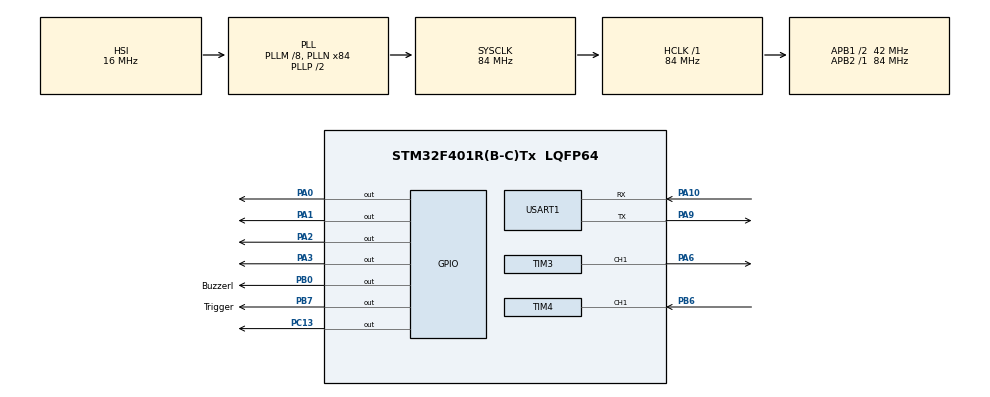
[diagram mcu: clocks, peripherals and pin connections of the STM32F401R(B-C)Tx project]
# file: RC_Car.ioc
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Mcu.Family=STM32F4
Mcu.Name=STM32F401R(B-C)Tx
Mcu.Package=LQFP64
NVIC.PriorityGroup=NVIC_PRIORITYGROUP_4
NVIC.TIM4_IRQn=true\:1\:0\:true\:false\:true\:true\:true\:true
PA0-WKUP.Signal=GPIO_Output
PA1.Signal=GPIO_Output
PA10.Mode=Asynchronous
PA10.Signal=USART1_RX
PA2.Signal=GPIO_Output
PA3.Signal=GPIO_Output
PA6.Signal=S_TIM3_CH1
PA9.Mode=Asynchronous
PA9.Signal=USART1_TX
PB0.GPIO_Label=Buzzerl
PB0.Signal=GPIO_Output
PB6.Signal=S_TIM4_CH1
PB7.GPIO_Label=Trigger
PB7.Signal=GPIO_Output
PC13-ANTI_TAMP.Signal=GPIO_Output
ProjectManager.HeapSize=0x200
ProjectManager.StackSize=0x400
ProjectManager.TargetToolchain=STM32CubeIDE
RCC.48MHZClocksFreq_Value=42000000
RCC.AHBFreq_Value=84000000
RCC.APB1CLKDivider=RCC_HCLK_DIV2
RCC.APB1Freq_Value=42000000
RCC.APB1TimFreq_Value=84000000
RCC.APB2Freq_Value=84000000
RCC.APB2TimFreq_Value=84000000
RCC.CortexFreq_Value=84000000
RCC.HCLKFreq_Value=84000000
RCC.HSE_VALUE=25000000
RCC.HSI_VALUE=16000000
RCC.LSE_VALUE=32768
RCC.PLLM=8
RCC.PLLN=84
RCC.SYSCLKFreq_VALUE=84000000
RCC.SYSCLKSource=RCC_SYSCLKSOURCE_PLLCLK
RCC.VCOOutputFreq_Value=168000000
SH.S_TIM3_CH1.0=TIM3_CH1,PWM Generation1 CH1
SH.S_TIM4_CH1.0=TIM4_CH1,Input_Capture1_from_TI1
TIM3.Channel-PWM\ Generation1\ CH1=TIM_CHANNEL_1
TIM4.Channel-Input_Capture1_from_TI1=TIM_CHANNEL_1
TIM4.Prescaler=83
USART1.VirtualMode=VM_ASYNC
board=custom

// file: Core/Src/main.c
/*****************************************************************************************************************************
**********************************    Author  : Ehab Magdy Abdullah                      *************************************
**********************************    Linkedin: https://www.linkedin.com/in/ehabmagdyy/  *************************************
**********************************    Youtube : https://www.youtube.com/@EhabMagdyy      *************************************
******************************************************************************************************************************/

#include "main.h"
#include "tim.h"
#include "usart.h"
#include "gpio.h"

/* USER CODE BEGIN Includes */
#include "dcmotor_lcfg.h"
#include "ultrasonic_lcfg.h"
#include "buzzer_lcfg.h"
/* USER CODE END Includes */

/* USER CODE BEGIN PV */
volatile uint8_t ultrasonic_reading_finished_flag = 0;
static volatile uint8_t is_firt_captured = 0;
static volatile uint32_t IC_Val1 = 0;
static volatile uint32_t IC_Val2 = 0;
static volatile uint32_t IC_Difference = 0;
uint16_t distance = 0;
/* USER CODE END PV */

void SystemClock_Config(void);
/* USER CODE BEGIN PFP */
void adjust_PWM_dutyCycle(TIM_HandleTypeDef* pwmHandle, uint32_t pwmChannel, float dutyCycle)
{

    // Calculate the new pulse width based on the duty cycle percentage
    uint32_t maxCCR = pwmHandle->Instance->ARR;
    uint32_t newCCR = (uint32_t)((dutyCycle / 100.0f) * maxCCR);

    // Update the CCR value for the specified channel
    __HAL_TIM_SET_COMPARE(pwmHandle, pwmChannel, newCCR);
}

void HAL_TIM_IC_CaptureCallback(TIM_HandleTypeDef *htim)
{
	/* Capture rising edge */
	if(0 == is_firt_captured)
	{
		IC_Val1 = HAL_TIM_ReadCapturedValue(htim, TIM_CHANNEL_1);
		is_firt_captured = 1;
		__HAL_TIM_SET_CAPTUREPOLARITY(htim, TIM_CHANNEL_1, TIM_INPUTCHANNELPOLARITY_FALLING);
		ultrasonic_reading_finished_flag = 0;
	}
	/* Capture falling edge */
	else if(1 == is_firt_captured)
	{
		IC_Val2 = HAL_TIM_ReadCapturedValue(htim, TIM_CHANNEL_1);
		__HAL_TIM_SET_COUNTER(htim, 0);

		if(IC_Val2 > IC_Val1)
		{
			IC_Difference = IC_Val2 - IC_Val1;
		}
		else if(IC_Val1 > IC_Val2)
		{
			IC_Difference = (0xFFFF - IC_Val1) + IC_Val2;
		}

		distance = IC_Difference * 0.017;

		is_firt_captured = 0;
		__HAL_TIM_SET_CAPTUREPOLARITY(htim, TIM_CHANNEL_1, TIM_INPUTCHANNELPOLARITY_RISING);
		__HAL_TIM_DISABLE_IT(&htim4, TIM_IT_CC1);
		ultrasonic_reading_finished_flag = 1;
	}
	else{ /* Nothing */ }
}

/* USER CODE END PFP */

int main(void)
{
  /* USER CODE BEGIN 1 */
	uint8_t bt_value = 0;
	uint8_t last_bt_value = 0;
  /* USER CODE END 1 */

  /* MCU Configuration--------------------------------------------------------*/

  /* Reset of all peripherals, Initializes the Flash interface and the Systick. */
  HAL_Init();

  /* Configure the system clock */
  SystemClock_Config();

  /* Initialize all configured peripherals */
  MX_GPIO_Init();
  MX_USART1_UART_Init();
  MX_TIM3_Init();
  MX_TIM4_Init();
  /* USER CODE BEGIN 2 */
  HAL_TIM_PWM_Start(&htim3, TIM_CHANNEL_1);
  adjust_PWM_dutyCycle(&htim3, TIM_CHANNEL_1, 50);
  HAL_TIM_IC_Start_IT(&htim4, TIM_CHANNEL_1);
  /* USER CODE END 2 */

  /* Infinite loop */
  /* USER CODE BEGIN WHILE */
  while (1)
  {
	  if(ultrasonic_reading_finished_flag)
	  {
		  Ultrasonic_Get_Distance(&ultrasonic);
		  HAL_GPIO_TogglePin(GPIOC, GPIO_PIN_13);
	  }
	  else{/* Nothing */}

	  HAL_UART_Receive(&huart1, (uint8_t*)&bt_value, 1, 20);

	  if(bt_value){ last_bt_value = bt_value; }
	  else{ bt_value = last_bt_value; }

	  switch(bt_value)
	  {
		  case 'F':
			  if(20 > distance && 0 < distance)
			  {
				  HAL_GPIO_WritePin(Buzzerl_GPIO_Port, Buzzerl_Pin, GPIO_PIN_SET);
				  RC_Car_Stop();
			  }
			  else
			  {
				  HAL_GPIO_WritePin(Buzzerl_GPIO_Port, Buzzerl_Pin, GPIO_PIN_RESET);
				  RC_Car_Move_Forward();
			  }
			  break;

		  case 'B':
			  if(20 <= distance)
			  {
				  HAL_GPIO_WritePin(Buzzerl_GPIO_Port, Buzzerl_Pin, GPIO_PIN_RESET);
			  }

			  RC_Car_Move_Backward();
			  break;

		  case 'R':
			  if(20 <= distance)
			  {
				  HAL_GPIO_WritePin(Buzzerl_GPIO_Port, Buzzerl_Pin, GPIO_PIN_RESET);
			  }

			  RC_Car_Move_Right();
			  break;

		  case 'L':
			  if(20 <= distance)
			  {
				  HAL_GPIO_WritePin(Buzzerl_GPIO_Port, Buzzerl_Pin, GPIO_PIN_RESET);
			  }

			  RC_Car_Move_Left();
			  break;

		  case 'S':
			  RC_Car_Stop();
			  break;

		  case '1':
			  RC_Car_Stop();
			  adjust_PWM_dutyCycle(&htim3, TIM_CHANNEL_1, 50);
			  break;

		  case '2':
			  RC_Car_Stop();
			  adjust_PWM_dutyCycle(&htim3, TIM_CHANNEL_1, 65);
			  break;

		  case '3':
			  RC_Car_Stop();
			  adjust_PWM_dutyCycle(&htim3, TIM_CHANNEL_1, 80);
			  break;

		  case '4':
			  RC_Car_Stop();
			  adjust_PWM_dutyCycle(&htim3, TIM_CHANNEL_1, 100);
			  break;

		  default:
			  break;
	  }

    /* USER CODE END WHILE */

  }
}

void SystemClock_Config(void)
{
  RCC_OscInitTypeDef RCC_OscInitStruct = {0};
  RCC_ClkInitTypeDef RCC_ClkInitStruct = {0};

  /** Configure the main internal regulator output voltage
  */
  __HAL_RCC_PWR_CLK_ENABLE();
  __HAL_PWR_VOLTAGESCALING_CONFIG(PWR_REGULATOR_VOLTAGE_SCALE2);

  /** Initializes the RCC Oscillators according to the specified parameters
  * in the RCC_OscInitTypeDef structure.
  */
  RCC_OscInitStruct.OscillatorType = RCC_OSCILLATORTYPE_HSI;
  RCC_OscInitStruct.HSIState = RCC_HSI_ON;
  RCC_OscInitStruct.HSICalibrationValue = RCC_HSICALIBRATION_DEFAULT;
  RCC_OscInitStruct.PLL.PLLState = RCC_PLL_ON;
  RCC_OscInitStruct.PLL.PLLSource = RCC_PLLSOURCE_HSI;
  RCC_OscInitStruct.PLL.PLLM = 8;
  RCC_OscInitStruct.PLL.PLLN = 84;
  RCC_OscInitStruct.PLL.PLLP = RCC_PLLP_DIV2;
  RCC_OscInitStruct.PLL.PLLQ = 4;
  if (HAL_RCC_OscConfig(&RCC_OscInitStruct) != HAL_OK)
  {
    Error_Handler();
  }

  /** Initializes the CPU, AHB and APB buses clocks
  */
  RCC_ClkInitStruct.ClockType = RCC_CLOCKTYPE_HCLK|RCC_CLOCKTYPE_SYSCLK
                              |RCC_CLOCKTYPE_PCLK1|RCC_CLOCKTYPE_PCLK2;
  RCC_ClkInitStruct.SYSCLKSource = RCC_SYSCLKSOURCE_PLLCLK;
  RCC_ClkInitStruct.AHBCLKDivider = RCC_SYSCLK_DIV1;
  RCC_ClkInitStruct.APB1CLKDivider = RCC_HCLK_DIV2;
  RCC_ClkInitStruct.APB2CLKDivider = RCC_HCLK_DIV1;

  if (HAL_RCC_ClockConfig(&RCC_ClkInitStruct, FLASH_LATENCY_2) != HAL_OK)
  {
    Error_Handler();
  }
}

/* USER CODE BEGIN 4 */
void RC_Car_Move_Forward(void)
{
	DCMotor_Forward(&motor_left);
	DCMotor_Forward(&motor_right);
}

void RC_Car_Move_Backward(void)
{
	DCMotor_Backward(&motor_left);
	DCMotor_Backward(&motor_right);
}

void RC_Car_Move_Right(void)
{
	DCMotor_Forward(&motor_left);
	DCMotor_Backward(&motor_right);
}

void RC_Car_Move_Left(void)
{
	DCMotor_Backward(&motor_left);
	DCMotor_Forward(&motor_right);
}

void RC_Car_Stop(void)
{
	DCMotor_Stop(&motor_left);
	DCMotor_Stop(&motor_right);
}
/* USER CODE END 4 */

void Error_Handler(void)
{
  __disable_irq();
  while (1)
  {
  }
}
